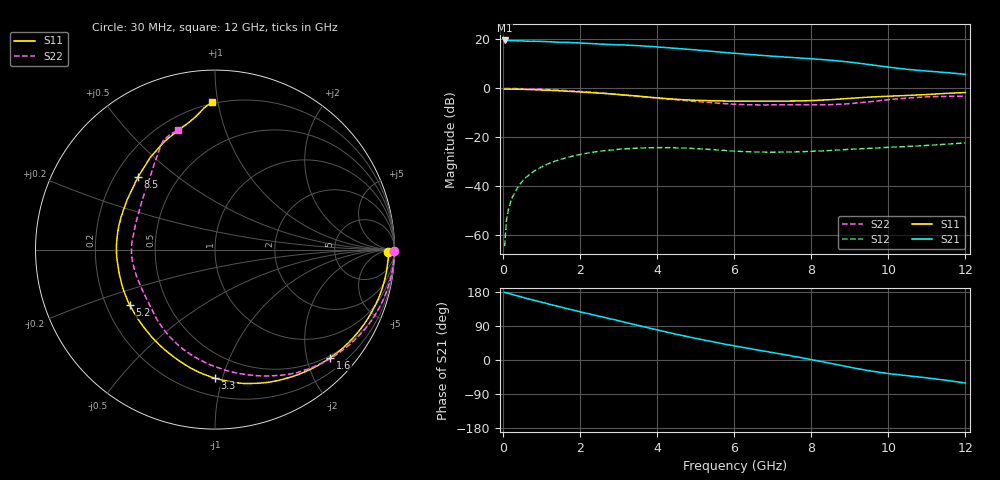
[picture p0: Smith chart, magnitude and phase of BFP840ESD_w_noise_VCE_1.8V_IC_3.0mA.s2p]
! Infineon Technologies  Discrete & RF Semiconductors
! BFP840ESD
! VCE =  1.8 V,  IC =  3.0 mA
! Common Emitter S-Parameters:  May 2012
# GHz  S  MA  R  50
!  f  S11  S21  S12  S22
! GHz  MAG  ANG  MAG  ANG  MAG  ANG  MAG  ANG
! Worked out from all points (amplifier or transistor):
!   93 points, 30 MHz to 12 GHz, reference 50 ohm
!   highest |S21| = 19.6 dB at 30 MHz (marker M1)
!   |S21| within 3 dB of that: start of sweep to 4.3 GHz
!   unconditionally stable (mu >= 1): 6.57 GHz to 10.54 GHz
!   at 1.1 GHz: K = 0.14, MSG = 25.2 dB, |S12| = -31.2 dB
!   at 4.2 GHz: K = 0.46, MSG = 20.5 dB, |S12| = -24.2 dB
!   at 12 GHz: K = 0.66, MSG = 14.0 dB, |S12| = -22.2 dB
!   lowest NFmin = 0.48 dB at 450 MHz
!   S11 on the Smith chart (normalised r, x): 30 MHz: 50, -20; 1.6 GHz: 0.46, -2.46; 3.3 GHz: 0.32, -0.95; 5.2 GHz: 0.30, -0.27; 8.5 GHz: 0.30, +0.36; 12 GHz: 0.19, +0.96
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0.03  0.9658 -0.8  9.54 178.3  0.0006 105.2  0.998 -0.6
0.08  0.9675 -2.1  9.507 177.1  0.0021 106.6  0.9987 -1.9
0.13  0.9658 -3.6  9.52 176.0  0.0034 85.2  0.9983 -3.1
0.38  0.9596 -10.3  9.383 168.8  0.0098 80.4  0.992 -9.1
0.9  0.9346 -24.2  9.175 154.8  0.0228 69.7  0.9654 -21.5
1.6  0.8809 -43.1  8.78 136.9  0.0377 55.3  0.9067 -37.9
2.1  0.8363 -56.4  8.393 124.6  0.0464 45.1  0.8563 -49.4
2.8  0.7712 -75.4  7.873 108.2  0.0552 32.5  0.773 -65.4
3.3  0.7174 -89.9  7.6 96.0  0.0592 24.1  0.7108 -77.3
3.6  0.684 -98.7  7.375 88.8  0.061 19.1  0.6757 -84.8
4.1  0.6316 -114.0  6.94 77.0  0.0619 11.7  0.6212 -97.5
4.7  0.5871 -132.4  6.381 63.4  0.0604 4.0  0.5656 -112.3
5.2  0.5669 -147.0  5.919 52.8  0.0578 -0.7  0.5259 -123.4
5.6  0.5561 -157.5  5.561 44.8  0.055 -3.2  0.4977 -132.1
6.1  0.5481 -169.2  5.151 35.5  0.052 -3.8  0.4714 -143.1
6.7  0.5496 177.6  4.733 24.6  0.0502 -3.1  0.4609 -156.9
7.4  0.5519 163.2  4.33 12.3  0.0501 -0.8  0.4643 -172.2
8.5  0.5893 136.9  3.765 -8.9  0.054 1.1  0.4655 161.2
9  0.6276 125.1  3.45 -19.1  0.0571 0.6  0.4882 146.7
9.5  0.6645 115.2  3.072 -28.4  0.0596 -0.5  0.5324 133.8
10.5  0.7194 102.2  2.451 -41.5  0.0652 -3.0  0.637 119.2
12  0.8245 91.0  1.942 -60.8  0.0774 -7.6  0.6966 107.3
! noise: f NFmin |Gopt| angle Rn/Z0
0.45  0.48  0.61  2  0.3
0.9  0.49  0.61  7  0.27
1.5  0.53  0.61  19  0.23
1.9  0.58  0.6  21  0.2
2.4  0.61  0.53  33  0.19
3.5  0.68  0.43  58  0.15
5.5  0.87  0.32  116  0.11
8  1.11  0.43  -150  0.06
10  1.33  0.54  -108  0.16
12  1.62  0.59  -85  0.28
